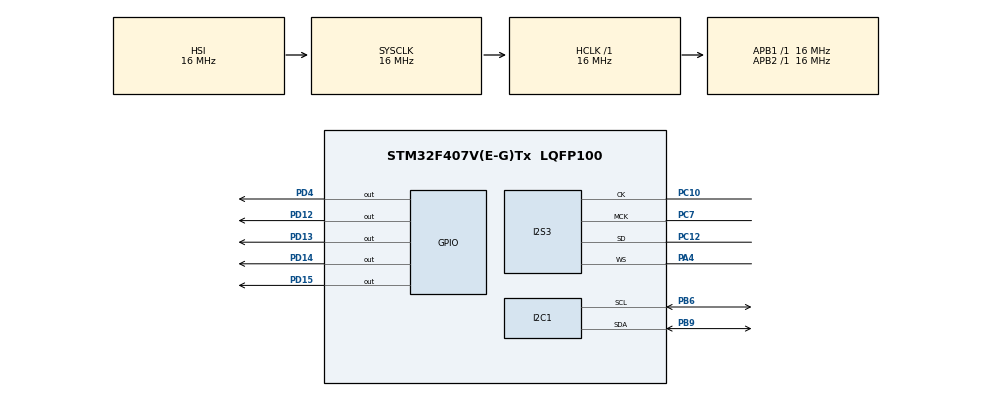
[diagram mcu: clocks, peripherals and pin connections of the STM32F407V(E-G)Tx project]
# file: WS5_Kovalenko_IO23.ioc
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Dma.Request0=SPI3_TX
Dma.SPI3_TX.0.Direction=DMA_MEMORY_TO_PERIPH
Dma.SPI3_TX.0.FIFOMode=DMA_FIFOMODE_ENABLE
Dma.SPI3_TX.0.FIFOThreshold=DMA_FIFO_THRESHOLD_FULL
Dma.SPI3_TX.0.Instance=DMA1_Stream5
Dma.SPI3_TX.0.MemBurst=DMA_MBURST_SINGLE
Dma.SPI3_TX.0.MemDataAlignment=DMA_MDATAALIGN_HALFWORD
Dma.SPI3_TX.0.MemInc=DMA_MINC_ENABLE
Dma.SPI3_TX.0.Mode=DMA_CIRCULAR
Dma.SPI3_TX.0.PeriphBurst=DMA_PBURST_SINGLE
Dma.SPI3_TX.0.PeriphDataAlignment=DMA_PDATAALIGN_HALFWORD
Dma.SPI3_TX.0.PeriphInc=DMA_PINC_DISABLE
Dma.SPI3_TX.0.Priority=DMA_PRIORITY_LOW
I2S3.AudioFreq=I2S_AUDIOFREQ_48K
I2S3.ErrorAudioFreq=-2.34 %
I2S3.FullDuplexMode=I2S_FULLDUPLEXMODE_DISABLE
I2S3.Instance=SPI$Index
I2S3.RealAudioFreq=46.875 KHz
I2S3.VirtualMode=I2S_MODE_MASTER
Mcu.Family=STM32F4
Mcu.Name=STM32F407V(E-G)Tx
Mcu.Package=LQFP100
NVIC.DMA1_Stream5_IRQn=true\:0\:0\:false\:false\:true\:false\:true\:true
NVIC.PriorityGroup=NVIC_PRIORITYGROUP_4
PA4.Mode=Half_Duplex_Master
PA4.Signal=I2S3_WS
PB6.Mode=I2C
PB6.Signal=I2C1_SCL
PB9.Mode=I2C
PB9.Signal=I2C1_SDA
PC10.Mode=Half_Duplex_Master
PC10.Signal=I2S3_CK
PC12.Mode=Half_Duplex_Master
PC12.Signal=I2S3_SD
PC7.Mode=Master_Clock_Activated
PC7.Signal=I2S3_MCK
PD12.Signal=GPIO_Output
PD13.Signal=GPIO_Output
PD14.Signal=GPIO_Output
PD15.Signal=GPIO_Output
PD4.Signal=GPIO_Output
ProjectManager.HeapSize=0x200
ProjectManager.StackSize=0x400
ProjectManager.TargetToolchain=STM32CubeIDE
RCC.AHBFreq_Value=16000000
RCC.APB1Freq_Value=16000000
RCC.APB2Freq_Value=16000000
RCC.CortexFreq_Value=16000000
RCC.HSE_VALUE=25000000
RCC.HSI_VALUE=16000000
RCC.LSE_VALUE=32768
RCC.SYSCLKFreq_VALUE=16000000
RCC.VCOOutputFreq_Value=192000000
board=custom

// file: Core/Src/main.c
/* USER CODE BEGIN Header */
/**
  ******************************************************************************
  * @file           : main.c
  * @brief          : Main program body - Happy Birthday Music + LED Effects
  ******************************************************************************
  */
/* USER CODE END Header */

#include "main.h"

/* USER CODE BEGIN PTD */
typedef enum
{
	C4, C5, D5, E5, F5, G5, A5, B5, C6, D6, E6, F6, G6, A6, B6, MAX_VALUE
} soundToneType;
/* USER CODE END PTD */

/* USER CODE BEGIN PD */
#define CS43L22_I2C_ADDRESS		0x94
#define I2C_TIMEOUT				10
/* USER CODE END PD */

I2C_HandleTypeDef hi2c1;
I2S_HandleTypeDef hi2s3;
DMA_HandleTypeDef hdma_spi3_tx;

/* USER CODE BEGIN PV */
int16_t dataI2S[100] = {0};
const uint32_t full_note_duration = 400;
const uint32_t half_note_duration = full_note_duration >> 1;
const uint32_t quarter_note_duration = full_note_duration >> 2;
const uint32_t eighth_note_duration = full_note_duration >> 3;
uint8_t play_count = 0;
const uint8_t max_plays = 2;
/* USER CODE END PV */

void SystemClock_Config(void);
static void MX_GPIO_Init(void);
static void MX_DMA_Init(void);
static void MX_I2C1_Init(void);
static void MX_I2S3_Init(void);

/* USER CODE BEGIN PFP */
void CS43L22_Init(void);
void CS43L22_Beep(soundToneType pitch, uint32_t duration_ms);
void rainbow_effect(uint32_t speed);
void birthday_candles_effect(void);
void sparkle_effect(uint32_t duration);
/* USER CODE END PFP */

/* USER CODE BEGIN 0 */

void CS43L22_Init(void)
{
	// Enable chip
	HAL_GPIO_WritePin(GPIOD, GPIO_PIN_4, GPIO_PIN_SET);

	uint8_t TxBuffer[2];

	TxBuffer[0] = 0x0D; TxBuffer[1] = 0x01;
	HAL_I2C_Master_Transmit(&hi2c1, CS43L22_I2C_ADDRESS, (uint8_t*) &TxBuffer, 2, I2C_TIMEOUT);

	TxBuffer[0] = 0x00; TxBuffer[1] = 0x99;
	HAL_I2C_Master_Transmit(&hi2c1, CS43L22_I2C_ADDRESS, (uint8_t*) &TxBuffer, 2, I2C_TIMEOUT);

	TxBuffer[0] = 0x47; TxBuffer[1] = 0x80;
	HAL_I2C_Master_Transmit(&hi2c1, CS43L22_I2C_ADDRESS, (uint8_t*) &TxBuffer, 2, I2C_TIMEOUT);

	TxBuffer[0] = 0x32; TxBuffer[1] = 0xFF;
	HAL_I2C_Master_Transmit(&hi2c1, CS43L22_I2C_ADDRESS, (uint8_t*) &TxBuffer, 2, I2C_TIMEOUT);

	TxBuffer[0] = 0x32; TxBuffer[1] = 0x7F;
	HAL_I2C_Master_Transmit(&hi2c1, CS43L22_I2C_ADDRESS, (uint8_t*) &TxBuffer, 2, I2C_TIMEOUT);

	TxBuffer[0] = 0x00; TxBuffer[1] = 0x00;
	HAL_I2C_Master_Transmit(&hi2c1, CS43L22_I2C_ADDRESS, (uint8_t*) &TxBuffer, 2, I2C_TIMEOUT);

	TxBuffer[0] = 0x04; TxBuffer[1] = 0xAF;
	HAL_I2C_Master_Transmit(&hi2c1, CS43L22_I2C_ADDRESS, (uint8_t*) &TxBuffer, 2, I2C_TIMEOUT);

	TxBuffer[0] = 0x0D; TxBuffer[1] = 0x70;
	HAL_I2C_Master_Transmit(&hi2c1, CS43L22_I2C_ADDRESS, (uint8_t*) &TxBuffer, 2, I2C_TIMEOUT);

	TxBuffer[0] = 0x05; TxBuffer[1] = 0x81;
	HAL_I2C_Master_Transmit(&hi2c1, CS43L22_I2C_ADDRESS, (uint8_t*) &TxBuffer, 2, I2C_TIMEOUT);

	TxBuffer[0] = 0x06; TxBuffer[1] = 0x07;
	HAL_I2C_Master_Transmit(&hi2c1, CS43L22_I2C_ADDRESS, (uint8_t*) &TxBuffer, 2, I2C_TIMEOUT);

	TxBuffer[0] = 0x0A; TxBuffer[1] = 0x00;
	HAL_I2C_Master_Transmit(&hi2c1, CS43L22_I2C_ADDRESS, (uint8_t*) &TxBuffer, 2, I2C_TIMEOUT);

	TxBuffer[0] = 0x27; TxBuffer[1] = 0x00;
	HAL_I2C_Master_Transmit(&hi2c1, CS43L22_I2C_ADDRESS, (uint8_t*) &TxBuffer, 2, I2C_TIMEOUT);

	TxBuffer[0] = 0x1A; TxBuffer[1] = 0x0A;
	HAL_I2C_Master_Transmit(&hi2c1, CS43L22_I2C_ADDRESS, (uint8_t*) &TxBuffer, 2, I2C_TIMEOUT);

	TxBuffer[0] = 0x1B; TxBuffer[1] = 0x0A;
	HAL_I2C_Master_Transmit(&hi2c1, CS43L22_I2C_ADDRESS, (uint8_t*) &TxBuffer, 2, I2C_TIMEOUT);

	TxBuffer[0] = 0x1F; TxBuffer[1] = 0x0F;
	HAL_I2C_Master_Transmit(&hi2c1, CS43L22_I2C_ADDRESS, (uint8_t*) &TxBuffer, 2, I2C_TIMEOUT);

	TxBuffer[0] = 0x02; TxBuffer[1] = 0x9E;
	HAL_I2C_Master_Transmit(&hi2c1, CS43L22_I2C_ADDRESS, (uint8_t*) &TxBuffer, 2, I2C_TIMEOUT);
}

void CS43L22_Beep(soundToneType pitch, uint32_t duration_ms)
{
	uint8_t TxBuffer[2];

	// Set volume and off time
	TxBuffer[0] = 0x1D;
	TxBuffer[1] = 0x00;
	HAL_I2C_Master_Transmit(&hi2c1, CS43L22_I2C_ADDRESS, (uint8_t*) &TxBuffer, 2, I2C_TIMEOUT);

	// Set sound frequency
	TxBuffer[0] = 0x1C;
	TxBuffer[1] = (pitch << 4);
	HAL_I2C_Master_Transmit(&hi2c1, CS43L22_I2C_ADDRESS, (uint8_t*) &TxBuffer, 2, I2C_TIMEOUT);

	// Enable continuous mode
	TxBuffer[0] = 0x1E;
	TxBuffer[1] = 0xC0;
	HAL_I2C_Master_Transmit(&hi2c1, CS43L22_I2C_ADDRESS, (uint8_t*) &TxBuffer, 2, I2C_TIMEOUT);

	// Playing...
	HAL_Delay(duration_ms);

	// Disable continuous mode
	TxBuffer[0] = 0x1E;
	TxBuffer[1] = 0x00;
	HAL_I2C_Master_Transmit(&hi2c1, CS43L22_I2C_ADDRESS, (uint8_t*) &TxBuffer, 2, I2C_TIMEOUT);
}

void rainbow_effect(uint32_t speed)
{
	HAL_GPIO_WritePin(GPIOD, GPIO_PIN_12, GPIO_PIN_SET);
	HAL_Delay(speed);
	HAL_GPIO_WritePin(GPIOD, GPIO_PIN_13, GPIO_PIN_SET);
	HAL_Delay(speed);
	HAL_GPIO_WritePin(GPIOD, GPIO_PIN_14, GPIO_PIN_SET);
	HAL_Delay(speed);
	HAL_GPIO_WritePin(GPIOD, GPIO_PIN_15, GPIO_PIN_SET);
	HAL_Delay(speed);
	HAL_GPIO_WritePin(GPIOD, GPIO_PIN_12, GPIO_PIN_RESET);
	HAL_Delay(speed);
	HAL_GPIO_WritePin(GPIOD, GPIO_PIN_13, GPIO_PIN_RESET);
	HAL_Delay(speed);
	HAL_GPIO_WritePin(GPIOD, GPIO_PIN_14, GPIO_PIN_RESET);
	HAL_Delay(speed);
	HAL_GPIO_WritePin(GPIOD, GPIO_PIN_15, GPIO_PIN_RESET);
}

void birthday_candles_effect(void)
{
	for(int candle = 0; candle < 3; candle++)
	{
		HAL_GPIO_WritePin(GPIOD, GPIO_PIN_12|GPIO_PIN_13|GPIO_PIN_14|GPIO_PIN_15, GPIO_PIN_SET);
		HAL_Delay(80);
		HAL_GPIO_WritePin(GPIOD, GPIO_PIN_13|GPIO_PIN_15, GPIO_PIN_RESET);
		HAL_Delay(60);
		HAL_GPIO_WritePin(GPIOD, GPIO_PIN_13|GPIO_PIN_15, GPIO_PIN_SET);
		HAL_Delay(80);
		HAL_GPIO_WritePin(GPIOD, GPIO_PIN_12|GPIO_PIN_14, GPIO_PIN_RESET);
		HAL_Delay(60);
		HAL_GPIO_WritePin(GPIOD, GPIO_PIN_12|GPIO_PIN_14, GPIO_PIN_SET);
		HAL_Delay(80);
		HAL_GPIO_WritePin(GPIOD, GPIO_PIN_12|GPIO_PIN_13|GPIO_PIN_14|GPIO_PIN_15, GPIO_PIN_RESET);
		HAL_Delay(120);
	}
}

void sparkle_effect(uint32_t duration)
{
	uint32_t start_time = HAL_GetTick();
	while(HAL_GetTick() - start_time < duration)
	{
		HAL_GPIO_WritePin(GPIOD, GPIO_PIN_12|GPIO_PIN_14, GPIO_PIN_SET);
		HAL_Delay(30);
		HAL_GPIO_WritePin(GPIOD, GPIO_PIN_12|GPIO_PIN_14, GPIO_PIN_RESET);
		HAL_GPIO_WritePin(GPIOD, GPIO_PIN_13|GPIO_PIN_15, GPIO_PIN_SET);
		HAL_Delay(40);
		HAL_GPIO_WritePin(GPIOD, GPIO_PIN_13|GPIO_PIN_15, GPIO_PIN_RESET);
		HAL_GPIO_WritePin(GPIOD, GPIO_PIN_12|GPIO_PIN_15, GPIO_PIN_SET);
		HAL_Delay(35);
		HAL_GPIO_WritePin(GPIOD, GPIO_PIN_12|GPIO_PIN_15, GPIO_PIN_RESET);
		HAL_GPIO_WritePin(GPIOD, GPIO_PIN_13|GPIO_PIN_14, GPIO_PIN_SET);
		HAL_Delay(45);
		HAL_GPIO_WritePin(GPIOD, GPIO_PIN_13|GPIO_PIN_14, GPIO_PIN_RESET);
		HAL_Delay(50);
	}
}

/* USER CODE END 0 */

int main(void)
{
	HAL_Init();
	SystemClock_Config();
	MX_GPIO_Init();
	MX_DMA_Init();
	MX_I2C1_Init();
	MX_I2S3_Init();

	CS43L22_Init();
	HAL_I2S_Transmit_DMA(&hi2s3, (uint16_t *)dataI2S, 100);

	while (1)
	{
		if(play_count >= max_plays)
		{
			sparkle_effect(2000);
			HAL_Delay(500);

			HAL_GPIO_WritePin(GPIOD, GPIO_PIN_12|GPIO_PIN_13|GPIO_PIN_14|GPIO_PIN_15, GPIO_PIN_SET);
			HAL_Delay(1000);
			HAL_GPIO_WritePin(GPIOD, GPIO_PIN_12|GPIO_PIN_13|GPIO_PIN_14|GPIO_PIN_15, GPIO_PIN_RESET);
			HAL_Delay(2000);
			continue;
		}

		HAL_GPIO_WritePin(GPIOD, GPIO_PIN_12, GPIO_PIN_SET);
		CS43L22_Beep(C5, eighth_note_duration);
		HAL_GPIO_WritePin(GPIOD, GPIO_PIN_12, GPIO_PIN_RESET);
		HAL_Delay(eighth_note_duration >> 2);

		HAL_GPIO_WritePin(GPIOD, GPIO_PIN_12, GPIO_PIN_SET);
		CS43L22_Beep(C5, eighth_note_duration);
		HAL_GPIO_WritePin(GPIOD, GPIO_PIN_12, GPIO_PIN_RESET);
		HAL_Delay(eighth_note_duration >> 1);

		HAL_GPIO_WritePin(GPIOD, GPIO_PIN_13, GPIO_PIN_SET);
		CS43L22_Beep(D5, quarter_note_duration);
		HAL_GPIO_WritePin(GPIOD, GPIO_PIN_13, GPIO_PIN_RESET);
		HAL_Delay(eighth_note_duration);

		HAL_GPIO_WritePin(GPIOD, GPIO_PIN_12, GPIO_PIN_SET);
		CS43L22_Beep(C5, quarter_note_duration);
		HAL_GPIO_WritePin(GPIOD, GPIO_PIN_12, GPIO_PIN_RESET);
		HAL_Delay(eighth_note_duration);

		HAL_GPIO_WritePin(GPIOD, GPIO_PIN_14|GPIO_PIN_15, GPIO_PIN_SET);
		CS43L22_Beep(F5, quarter_note_duration);
		HAL_GPIO_WritePin(GPIOD, GPIO_PIN_14|GPIO_PIN_15, GPIO_PIN_RESET);
		HAL_Delay(eighth_note_duration);

		HAL_GPIO_WritePin(GPIOD, GPIO_PIN_14, GPIO_PIN_SET);
		CS43L22_Beep(E5, half_note_duration);
		birthday_candles_effect();
		HAL_GPIO_WritePin(GPIOD, GPIO_PIN_14, GPIO_PIN_RESET);

		HAL_GPIO_WritePin(GPIOD, GPIO_PIN_12, GPIO_PIN_SET);
		CS43L22_Beep(C5, eighth_note_duration);
		HAL_GPIO_WritePin(GPIOD, GPIO_PIN_12, GPIO_PIN_RESET);
		HAL_Delay(eighth_note_duration >> 2);

		HAL_GPIO_WritePin(GPIOD, GPIO_PIN_12, GPIO_PIN_SET);
		CS43L22_Beep(C5, eighth_note_duration);
		HAL_GPIO_WritePin(GPIOD, GPIO_PIN_12, GPIO_PIN_RESET);
		HAL_Delay(eighth_note_duration >> 1);

		HAL_GPIO_WritePin(GPIOD, GPIO_PIN_13, GPIO_PIN_SET);
		CS43L22_Beep(D5, quarter_note_duration);
		HAL_GPIO_WritePin(GPIOD, GPIO_PIN_13, GPIO_PIN_RESET);
		HAL_Delay(eighth_note_duration);

		HAL_GPIO_WritePin(GPIOD, GPIO_PIN_12, GPIO_PIN_SET);
		CS43L22_Beep(C5, quarter_note_duration);
		HAL_GPIO_WritePin(GPIOD, GPIO_PIN_12, GPIO_PIN_RESET);
		HAL_Delay(eighth_note_duration);

		HAL_GPIO_WritePin(GPIOD, GPIO_PIN_15, GPIO_PIN_SET);
		CS43L22_Beep(G5, quarter_note_duration);
		rainbow_effect(50);
		HAL_GPIO_WritePin(GPIOD, GPIO_PIN_15, GPIO_PIN_RESET);

		HAL_GPIO_WritePin(GPIOD, GPIO_PIN_14|GPIO_PIN_15, GPIO_PIN_SET);
		CS43L22_Beep(F5, half_note_duration);
		birthday_candles_effect();
		HAL_GPIO_WritePin(GPIOD, GPIO_PIN_14|GPIO_PIN_15, GPIO_PIN_RESET);

		HAL_GPIO_WritePin(GPIOD, GPIO_PIN_12, GPIO_PIN_SET);
		CS43L22_Beep(C5, eighth_note_duration);
		HAL_GPIO_WritePin(GPIOD, GPIO_PIN_12, GPIO_PIN_RESET);
		HAL_Delay(eighth_note_duration >> 2);

		HAL_GPIO_WritePin(GPIOD, GPIO_PIN_12, GPIO_PIN_SET);
		CS43L22_Beep(C5, eighth_note_duration);
		HAL_GPIO_WritePin(GPIOD, GPIO_PIN_12, GPIO_PIN_RESET);
		HAL_Delay(eighth_note_duration >> 1);

		HAL_GPIO_WritePin(GPIOD, GPIO_PIN_12|GPIO_PIN_13|GPIO_PIN_14|GPIO_PIN_15, GPIO_PIN_SET);
		CS43L22_Beep(C6, quarter_note_duration);
		HAL_GPIO_WritePin(GPIOD, GPIO_PIN_12|GPIO_PIN_13|GPIO_PIN_14|GPIO_PIN_15, GPIO_PIN_RESET);
		HAL_Delay(eighth_note_duration);

		HAL_GPIO_WritePin(GPIOD, GPIO_PIN_13|GPIO_PIN_15, GPIO_PIN_SET);
		CS43L22_Beep(A5, quarter_note_duration);
		HAL_GPIO_WritePin(GPIOD, GPIO_PIN_13|GPIO_PIN_15, GPIO_PIN_RESET);
		HAL_Delay(eighth_note_duration);

		HAL_GPIO_WritePin(GPIOD, GPIO_PIN_14|GPIO_PIN_15, GPIO_PIN_SET);
		CS43L22_Beep(F5, quarter_note_duration);
		HAL_GPIO_WritePin(GPIOD, GPIO_PIN_14|GPIO_PIN_15, GPIO_PIN_RESET);
		HAL_Delay(eighth_note_duration);

		HAL_GPIO_WritePin(GPIOD, GPIO_PIN_14, GPIO_PIN_SET);
		CS43L22_Beep(E5, quarter_note_duration);
		HAL_GPIO_WritePin(GPIOD, GPIO_PIN_14, GPIO_PIN_RESET);
		HAL_Delay(eighth_note_duration);

		HAL_GPIO_WritePin(GPIOD, GPIO_PIN_13, GPIO_PIN_SET);
		CS43L22_Beep(D5, half_note_duration);
		rainbow_effect(80);
		HAL_GPIO_WritePin(GPIOD, GPIO_PIN_13, GPIO_PIN_RESET);

		HAL_GPIO_WritePin(GPIOD, GPIO_PIN_12|GPIO_PIN_14, GPIO_PIN_SET);
		CS43L22_Beep(B5, eighth_note_duration);
		HAL_GPIO_WritePin(GPIOD, GPIO_PIN_12|GPIO_PIN_14, GPIO_PIN_RESET);
		HAL_Delay(eighth_note_duration >> 2);

		HAL_GPIO_WritePin(GPIOD, GPIO_PIN_12|GPIO_PIN_14, GPIO_PIN_SET);
		CS43L22_Beep(B5, eighth_note_duration);
		HAL_GPIO_WritePin(GPIOD, GPIO_PIN_12|GPIO_PIN_14, GPIO_PIN_RESET);
		HAL_Delay(eighth_note_duration >> 1);

		HAL_GPIO_WritePin(GPIOD, GPIO_PIN_13|GPIO_PIN_15, GPIO_PIN_SET);
		CS43L22_Beep(A5, quarter_note_duration);
		HAL_GPIO_WritePin(GPIOD, GPIO_PIN_13|GPIO_PIN_15, GPIO_PIN_RESET);
		HAL_Delay(eighth_note_duration);

		HAL_GPIO_WritePin(GPIOD, GPIO_PIN_14|GPIO_PIN_15, GPIO_PIN_SET);
		CS43L22_Beep(F5, quarter_note_duration);
		HAL_GPIO_WritePin(GPIOD, GPIO_PIN_14|GPIO_PIN_15, GPIO_PIN_RESET);
		HAL_Delay(eighth_note_duration);

		HAL_GPIO_WritePin(GPIOD, GPIO_PIN_15, GPIO_PIN_SET);
		CS43L22_Beep(G5, quarter_note_duration);
		HAL_GPIO_WritePin(GPIOD, GPIO_PIN_15, GPIO_PIN_RESET);
		HAL_Delay(eighth_note_duration);

		HAL_GPIO_WritePin(GPIOD, GPIO_PIN_12|GPIO_PIN_13|GPIO_PIN_14|GPIO_PIN_15, GPIO_PIN_SET);
		CS43L22_Beep(F5, full_note_duration);
		sparkle_effect(800);
		HAL_GPIO_WritePin(GPIOD, GPIO_PIN_12|GPIO_PIN_13|GPIO_PIN_14|GPIO_PIN_15, GPIO_PIN_RESET);

		play_count++;
		HAL_Delay(1500);
	}
}

static void MX_GPIO_Init(void)
{
	GPIO_InitTypeDef GPIO_InitStruct = {0};

	/* GPIO Ports Clock Enable */
	__HAL_RCC_GPIOA_CLK_ENABLE();
	__HAL_RCC_GPIOC_CLK_ENABLE();
	__HAL_RCC_GPIOD_CLK_ENABLE();
	__HAL_RCC_GPIOB_CLK_ENABLE();

	/*Configure GPIO pin Output Level */
	HAL_GPIO_WritePin(GPIOD, GPIO_PIN_4, GPIO_PIN_RESET);
	HAL_GPIO_WritePin(GPIOD, GPIO_PIN_12|GPIO_PIN_13|GPIO_PIN_14|GPIO_PIN_15, GPIO_PIN_RESET);

	/*Configure GPIO pins : PD4, PD12, PD13, PD14, PD15 */
	GPIO_InitStruct.Pin = GPIO_PIN_4|GPIO_PIN_12|GPIO_PIN_13|GPIO_PIN_14|GPIO_PIN_15;
	GPIO_InitStruct.Mode = GPIO_MODE_OUTPUT_PP;
	GPIO_InitStruct.Pull = GPIO_NOPULL;
	GPIO_InitStruct.Speed = GPIO_SPEED_FREQ_LOW;
	HAL_GPIO_Init(GPIOD, &GPIO_InitStruct);
}

void SystemClock_Config(void)
{
	RCC_OscInitTypeDef RCC_OscInitStruct = {0};
	RCC_ClkInitTypeDef RCC_ClkInitStruct = {0};

	__HAL_RCC_PLL_PLLM_CONFIG(16);
	__HAL_RCC_PLL_PLLSOURCE_CONFIG(RCC_PLLSOURCE_HSI);
	__HAL_RCC_PWR_CLK_ENABLE();
	__HAL_PWR_VOLTAGESCALING_CONFIG(PWR_REGULATOR_VOLTAGE_SCALE1);

	RCC_OscInitStruct.OscillatorType = RCC_OSCILLATORTYPE_HSI;
	RCC_OscInitStruct.HSIState = RCC_HSI_ON;
	RCC_OscInitStruct.HSICalibrationValue = RCC_HSICALIBRATION_DEFAULT;
	RCC_OscInitStruct.PLL.PLLState = RCC_PLL_NONE;
	RCC_OscInitStruct.PLL.PLLSource = RCC_PLLSOURCE_HSI;
	if (HAL_RCC_OscConfig(&RCC_OscInitStruct) != HAL_OK)
	{
		Error_Handler();
	}

	RCC_ClkInitStruct.ClockType = RCC_CLOCKTYPE_HCLK|RCC_CLOCKTYPE_SYSCLK|RCC_CLOCKTYPE_PCLK1|RCC_CLOCKTYPE_PCLK2;
	RCC_ClkInitStruct.SYSCLKSource = RCC_SYSCLKSOURCE_HSI;
	RCC_ClkInitStruct.AHBCLKDivider = RCC_SYSCLK_DIV1;
	RCC_ClkInitStruct.APB1CLKDivider = RCC_HCLK_DIV1;
	RCC_ClkInitStruct.APB2CLKDivider = RCC_HCLK_DIV1;

	if (HAL_RCC_ClockConfig(&RCC_ClkInitStruct, FLASH_LATENCY_0) != HAL_OK)
	{
		Error_Handler();
	}
}

static void MX_I2C1_Init(void)
{
	hi2c1.Instance = I2C1;
	hi2c1.Init.ClockSpeed = 100000;
	hi2c1.Init.DutyCycle = I2C_DUTYCYCLE_2;
	hi2c1.Init.OwnAddress1 = 0;
	hi2c1.Init.AddressingMode = I2C_ADDRESSINGMODE_7BIT;
	hi2c1.Init.DualAddressMode = I2C_DUALADDRESS_DISABLE;
	hi2c1.Init.OwnAddress2 = 0;
	hi2c1.Init.GeneralCallMode = I2C_GENERALCALL_DISABLE;
	hi2c1.Init.NoStretchMode = I2C_NOSTRETCH_DISABLE;
	if (HAL_I2C_Init(&hi2c1) != HAL_OK)
	{
		Error_Handler();
	}
}

static void MX_I2S3_Init(void)
{
	hi2s3.Instance = SPI3;
	hi2s3.Init.Mode = I2S_MODE_MASTER_TX;
	hi2s3.Init.Standard = I2S_STANDARD_PHILIPS;
	hi2s3.Init.DataFormat = I2S_DATAFORMAT_16B;
	hi2s3.Init.MCLKOutput = I2S_MCLKOUTPUT_ENABLE;
	hi2s3.Init.AudioFreq = I2S_AUDIOFREQ_48K;
	hi2s3.Init.CPOL = I2S_CPOL_LOW;
	hi2s3.Init.ClockSource = I2S_CLOCK_PLL;
	hi2s3.Init.FullDuplexMode = I2S_FULLDUPLEXMODE_DISABLE;
	if (HAL_I2S_Init(&hi2s3) != HAL_OK)
	{
		Error_Handler();
	}
}

static void MX_DMA_Init(void)
{
	__HAL_RCC_DMA1_CLK_ENABLE();
	HAL_NVIC_SetPriority(DMA1_Stream5_IRQn, 0, 0);
	HAL_NVIC_EnableIRQ(DMA1_Stream5_IRQn);
}

void Error_Handler(void)
{
	__disable_irq();
	while (1) {}
}
